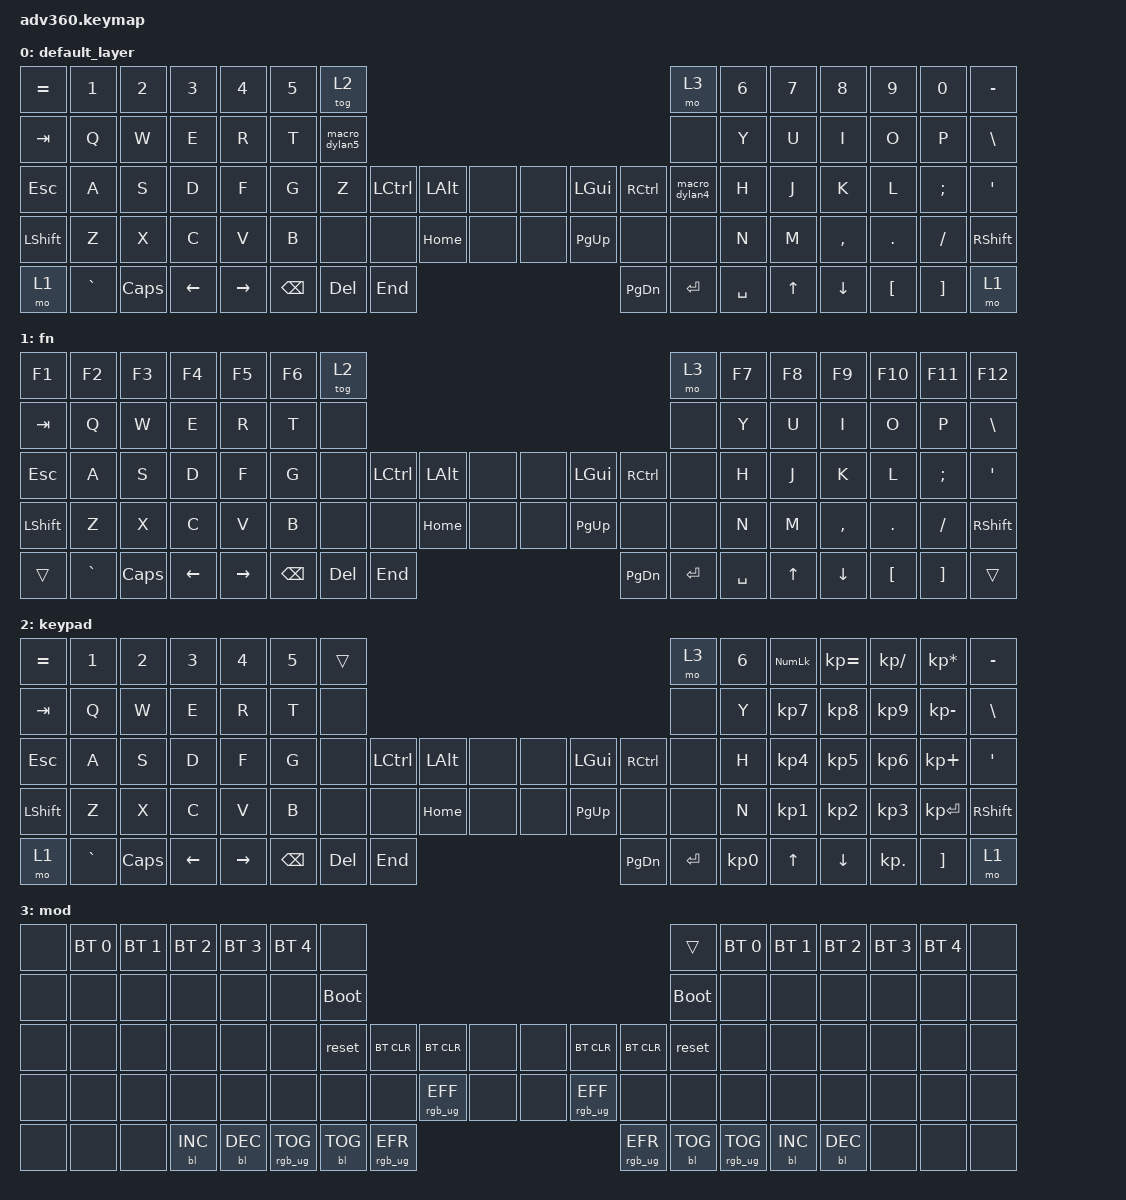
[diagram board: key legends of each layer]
#include <behaviors.dtsi>
#include <dt-bindings/zmk/keys.h>
#include <dt-bindings/zmk/bt.h>
#include <dt-bindings/zmk/rgb.h>
#include <dt-bindings/zmk/backlight.h>

/ {
    behaviors {
      #include "macros.dtsi"

      hm: homerow_mods {
          compatible = "zmk,behavior-hold-tap";
          label = "HOMEROW_MODS";
          #binding-cells = <2>;
          tapping-term-ms = <200>;
          quick_tap_ms = <175>;
          flavor = "tap-preferred";
          bindings = <&kp>, <&kp>;
      };
    };

  keymap {
    compatible = "zmk,keymap";

    default_layer {
      bindings = <
        &kp EQUAL &kp N1    &kp N2   &kp N3   &kp N4     &kp N5 &tog 2                                                                       &mo 3 &kp N6 &kp N7 &kp N8    &kp N9   &kp N0   &kp MINUS
        &kp TAB   &kp Q     &kp W    &kp E    &kp R      &kp T  &macro_dylan5                                                     &none &kp Y  &kp U  &kp I     &kp O    &kp P    &kp BSLH
        &kp ESC   &kp A     &kp S    &kp D    &kp F      &kp G  &Z           &kp LCTRL &kp LALT &none &none &kp LGUI  &kp RCTRL           &macro_dylan4 &kp H  &kp J  &kp K     &kp L    &kp SEMI &kp SQT
        &kp LSHFT &kp Z     &kp X    &kp C    &kp V      &kp B        &none     &none     &kp HOME &none &none &kp PG_UP &none     &none            &kp N  &kp M  &kp COMMA &kp DOT  &kp FSLH &kp RSHFT
        &mo 1     &kp GRAVE &kp CAPS &kp LEFT &kp RIGHT               &kp BKSP  &kp DEL   &kp END              &kp PG_DN &kp ENTER &kp SPACE               &kp UP &kp DOWN  &kp LBKT &kp RBKT &mo 1
        >;
    };
    fn {
      bindings = <
        &kp F1    &kp F2    &kp F3    &kp F4   &kp F5    &kp F6 &tog 2                                                                       &mo 3 &kp F7 &kp F8 &kp F9    &kp F10  &kp F11  &kp F12
        &kp TAB   &kp Q     &kp W    &kp E    &kp R      &kp T  &none                                                                        &none &kp Y  &kp U  &kp I     &kp O    &kp P    &kp BSLH
        &kp ESC   &kp A     &kp S    &kp D    &kp F      &kp G  &none          &kp LCTRL &kp LALT &none &none &kp LGUI  &kp RCTRL            &none &kp H  &kp J  &kp K     &kp L    &kp SEMI &kp SQT
        &kp LSHFT &kp Z     &kp X    &kp C    &kp V      &kp B        &none    &none     &kp HOME &none &none &kp PG_UP &none     &none            &kp N  &kp M  &kp COMMA &kp DOT  &kp FSLH &kp RSHFT
        &trans    &kp GRAVE &kp CAPS &kp LEFT &kp RIGHT               &kp BKSP &kp DEL   &kp END              &kp PG_DN &kp ENTER &kp SPACE               &kp UP &kp DOWN  &kp LBKT &kp RBKT &trans
      >;
    };
    keypad {
      bindings = <
        &kp EQUAL &kp N1    &kp N2   &kp N3   &kp N4     &kp N5 &trans                                                                       &mo 3 &kp N6 &kp KP_NUM &kp KP_EQUAL &kp KP_DIVIDE &kp KP_MULTIPLY &kp MINUS
        &kp TAB   &kp Q     &kp W    &kp E    &kp R      &kp T  &none                                                                        &none &kp Y  &kp KP_N7  &kp KP_N8    &kp KP_N9     &kp KP_MINUS    &kp BSLH
        &kp ESC   &kp A     &kp S    &kp D    &kp F      &kp G  &none          &kp LCTRL &kp LALT &none &none &kp LGUI  &kp RCTRL            &none &kp H  &kp KP_N4  &kp KP_N5    &kp KP_N6     &kp KP_PLUS     &kp SQT
        &kp LSHFT &kp Z     &kp X    &kp C    &kp V      &kp B        &none    &none     &kp HOME &none &none &kp PG_UP &none     &none            &kp N  &kp KP_N1  &kp KP_N2    &kp KP_N3     &kp KP_ENTER    &kp RSHFT
        &mo 1     &kp GRAVE &kp CAPS &kp LEFT &kp RIGHT               &kp BKSP &kp DEL   &kp END              &kp PG_DN &kp ENTER &kp KP_N0               &kp UP     &kp DOWN     &kp KP_DOT    &kp RBKT         &mo 1
      >;
    };
    mod {
      bindings = <
        &none &bt BT_SEL 0 &bt BT_SEL 1 &bt BT_SEL 2 &bt BT_SEL 3 &bt BT_SEL 4 &none                                                                                                  &trans        &bt BT_SEL 0 &bt BT_SEL 1 &bt BT_SEL 2 &bt BT_SEL 3 &bt BT_SEL 4 &none
        &none &none        &none        &none        &none        &none        &bootloader                                                                                            &bootloader   &none        &none        &none        &none        &none        &none
        &none &none        &none        &none        &none        &none        &reset                &bt BT_CLR &bt BT_CLR &none &none &bt BT_CLR &bt BT_CLR                          &reset         &none        &none        &none        &none        &none        &none
        &none &none        &none        &none        &none        &none                   &none           &none      &rgb_ug RGB_EFF &none &none &rgb_ug RGB_EFF  &none      &none                   &none        &none        &none        &none        &none        &none
        &none &none        &none        &bl BL_INC   &bl BL_DEC                           &rgb_ug RGB_TOG &bl BL_TOG &rgb_ug RGB_EFR             &rgb_ug RGB_EFR  &bl BL_TOG &rgb_ug RGB_TOG                      &bl BL_INC   &bl BL_DEC   &none        &none        &none
      >;
    };
  };
};
